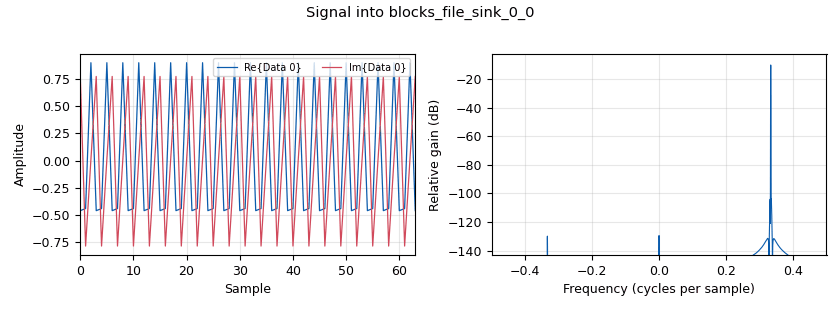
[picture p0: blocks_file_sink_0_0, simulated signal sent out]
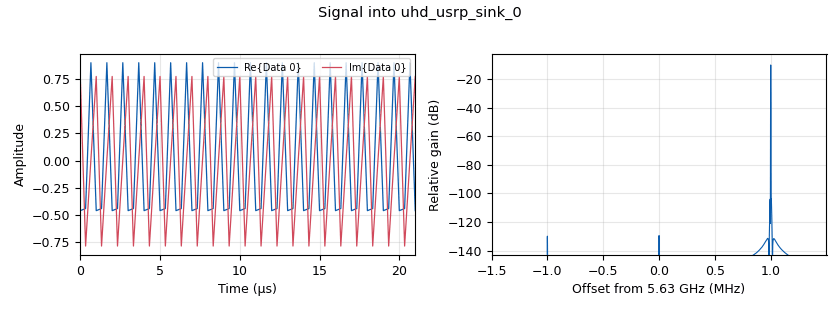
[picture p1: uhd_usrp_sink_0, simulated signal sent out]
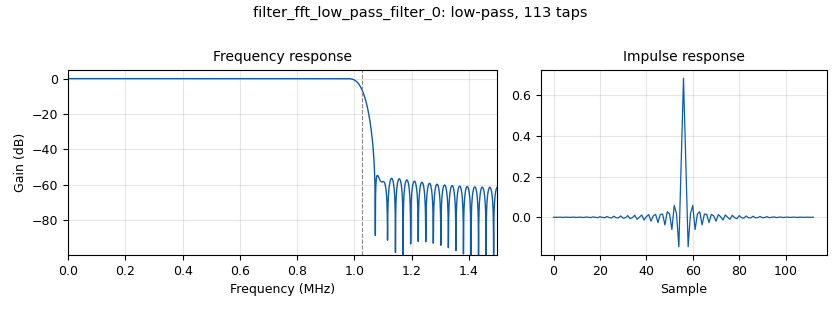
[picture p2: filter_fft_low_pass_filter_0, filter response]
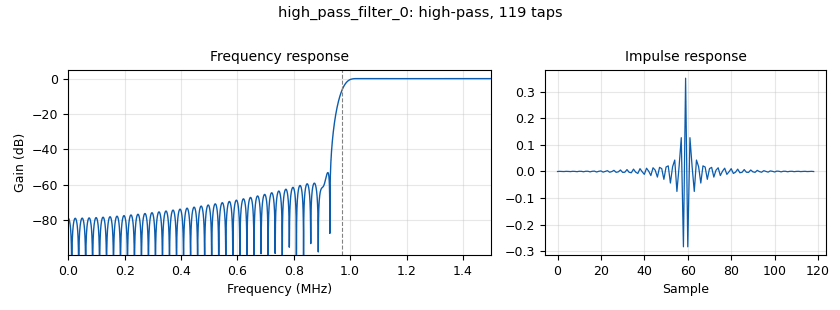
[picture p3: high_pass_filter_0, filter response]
options:
  parameters:
    generate_options: qt_gui
    id: Radar_vital_signals
    output_language: python
    title: Radar_vital_signals
  states: {}

blocks:
- name: HP_fre
  id: variable_qtgui_range
  parameters:
    start: 1e4
    step: '100'
    stop: samp_rate/2
    value: '972400'
  states: {}
- name: LP_fre
  id: variable_qtgui_range
  parameters:
    start: 1e3
    step: '100'
    stop: samp_rate/2
    value: '1025900'
  states: {}
- name: amplitude
  id: variable
  parameters:
    value: '900e-3'
  states: {}
- name: decimRate
  id: variable
  parameters:
    value: '100'
  states: {}
- name: freq
  id: variable
  parameters:
    value: 5.63e9
  states: {}
- name: rx_gain
  id: variable_qtgui_range
  parameters:
    start: '0'
    step: '1'
    stop: '50'
    value: '30'
  states: {}
- name: samp_rate
  id: variable
  parameters:
    value: 3e6
  states: {}
- name: tx_gain
  id: variable_qtgui_range
  parameters:
    start: '0'
    step: '1'
    stop: '50'
    value: '33'
  states: {}
- name: window_size
  id: variable
  parameters:
    value: '2048'
  states: {}
- name: analog_sig_source_x_0
  id: analog_sig_source_x
  parameters:
    amp: '900e-3'
    freq: 1e6
    offset: '0'
    phase: '0'
    samp_rate: samp_rate
    type: complex
    waveform: analog.GR_SIN_WAVE
  states: {}
- name: blocks_complex_to_arg_0
  id: blocks_complex_to_arg
  parameters: {}
  states: {state: disabled}
- name: blocks_file_sink_0
  id: blocks_file_sink
  parameters:
    append: 'True'
    file: /home/esteban/Documents/RX_filter.txt
    type: complex
  states: {}
- name: blocks_file_sink_0_0
  id: blocks_file_sink
  parameters:
    append: 'True'
    file: /home/esteban/Documents/TX.txt
    type: complex
  states: {}
- name: blocks_multiply_conjugate_cc_0
  id: blocks_multiply_conjugate_cc
  parameters: {}
  states: {state: disabled}
- name: filter_fft_low_pass_filter_0
  id: filter_fft_low_pass_filter
  parameters:
    cutoff_freq: LP_fre
    decim: '1'
    gain: '1'
    samp_rate: samp_rate
    type: ccc
    width: LP_fre/16
    win: window.WIN_HAMMING
  states: {}
- name: high_pass_filter_0
  id: high_pass_filter
  parameters:
    cutoff_freq: HP_fre
    decim: '1'
    gain: '1'
    samp_rate: samp_rate
    type: fir_filter_ccf
    width: HP_fre/16
    win: window.WIN_HAMMING
  states: {}
- name: qtgui_freq_sink_x_0
  id: qtgui_freq_sink_x
  parameters:
    bw: samp_rate
    fc: '0'
    fftsize: '2048'
    type: complex
  states: {}
- name: qtgui_time_sink_x_0
  id: qtgui_time_sink_x
  parameters:
    size: '5000'
    srate: '244.141'
    type: float
  states: {state: disabled}
- name: rational_resampler_xxx_0
  id: rational_resampler_xxx
  parameters:
    decim: decimRate
    fbw: '400e-3'
    interp: '1'
    type: ccc
  states: {state: disabled}
- name: uhd_usrp_sink_0
  id: uhd_usrp_sink
  parameters:
    ant0: '"TX/RX"'
    bw0: samp_rate
    center_freq0: freq
    gain0: tx_gain
    samp_rate: samp_rate
    sync: sync
    type: fc32
  states: {}
- name: uhd_usrp_source_0
  id: uhd_usrp_source
  parameters:
    ant0: '"RX2"'
    center_freq0: freq
    gain0: rx_gain
    samp_rate: samp_rate
    sync: none
    type: fc32
  states: {}

connections:
- [analog_sig_source_x_0, '0', blocks_file_sink_0_0, '0']
- [analog_sig_source_x_0, '0', blocks_multiply_conjugate_cc_0, '0']
- [analog_sig_source_x_0, '0', uhd_usrp_sink_0, '0']
- [blocks_complex_to_arg_0, '0', qtgui_time_sink_x_0, '0']
- [blocks_multiply_conjugate_cc_0, '0', rational_resampler_xxx_0, '0']
- [filter_fft_low_pass_filter_0, '0', blocks_file_sink_0, '0']
- [filter_fft_low_pass_filter_0, '0', qtgui_freq_sink_x_0, '0']
- [high_pass_filter_0, '0', filter_fft_low_pass_filter_0, '0']
- [rational_resampler_xxx_0, '0', blocks_complex_to_arg_0, '0']
- [uhd_usrp_source_0, '0', blocks_multiply_conjugate_cc_0, '1']
- [uhd_usrp_source_0, '0', high_pass_filter_0, '0']

metadata:
  file_format: 1
  grc_version: 3.10.8.0
